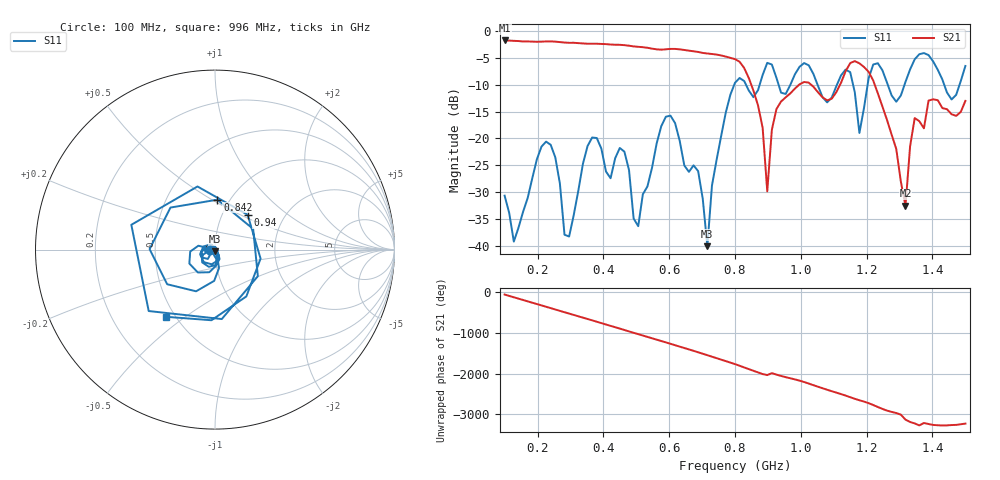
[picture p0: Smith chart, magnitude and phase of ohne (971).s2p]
! NanoVNA-App
! Date: 2025-09-25 14:28:21
! Start: 100MHz Stop: 1,5GHz Points: 101
! S-Parameter data: F S11 S21 S12 S22
# Hz S RI R 50
!  Frequency  S11_Real  S11_Imag  S21_Real  S21_Imag  S12_Real  S12_Imag  S22_Real  S22_Imag
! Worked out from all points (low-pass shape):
!   101 points, 100 MHz to 1.5 GHz, reference 50 ohm
!   highest |S21| = -1.79 dB at 100 MHz (marker M1); lowest = -32.5 dB at 1.318 GHz (marker M2)
!   |S21| within 3 dB of the highest: start of sweep to 772.1 MHz
!   lowest |S11| = -40.0 dB at 716 MHz (marker M3), VSWR 1.02, Z = 49.8 - j0.976 ohm
!   |S11| at or under -10 dB: start of sweep to 797.8 MHz; 833.2 MHz to 875.1 MHz (41.85 MHz wide, 4.9 % of centre); 1.051 GHz to 1.11 GHz (59.26 MHz wide, 5.49 % of centre) (the widest 3 of 7)
!   S12 and S22 are empty: the file has one direction only
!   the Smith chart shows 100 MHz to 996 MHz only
!   S11 on the Smith chart (normalised r, x): 100 MHz: 0.94, -0.01; 842 MHz: 0.88, +0.53; 940 MHz: 1.31, +0.55; 996 MHz: 0.45, -0.43
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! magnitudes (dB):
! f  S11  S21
! 100 MHz  -30.6  -1.8
! 128 MHz  -39.2  -1.9
! 226 MHz  -20.6  -2.0
! 296 MHz  -38.2  -2.2
! 338 MHz  -24.7  -2.3
! 464 MHz  -22.5  -2.7
! 506 MHz  -36.3  -3.0
! 576 MHz  -17.7  -3.5
! 688 MHz  -26.1  -3.9
! 716 MHz  -40.0  -4.2
! 800 MHz  -9.7  -5.3
! 842 MHz  -11.1  -8.8
! 898 MHz  -6.0  -29.8
! 940 MHz  -11.5  -13.1
! 996 MHz  -6.7  -10.0
! 1.038 GHz  -8.0  -10.4
! 1.178 GHz  -19.0  -6.0
! 1.22 GHz  -6.3  -9.2
! 1.276 GHz  -12.0  -19.3
! 1.318 GHz  -9.5  -32.5
! 1.346 GHz  -5.3  -16.2
! 1.5 GHz  -6.5  -13.0
